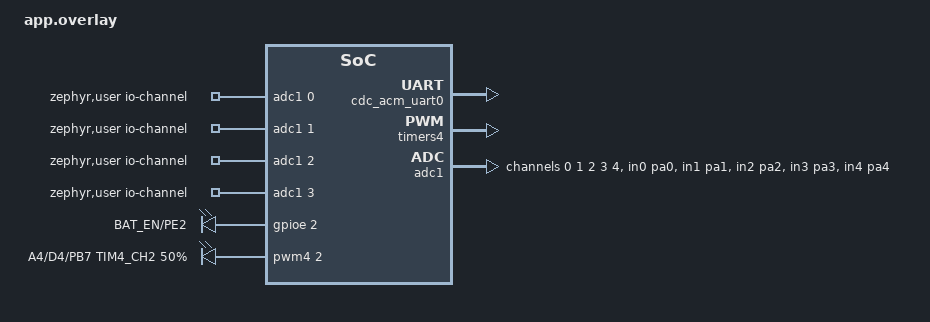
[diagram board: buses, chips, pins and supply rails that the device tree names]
#include <zephyr/dt-bindings/pwm/pwm.h>

/ {
	zephyr,user {
		io-channels = <&adc1 0>, <&adc1 1>, <&adc1 2>, <&adc1 3>;
	};

	battery_adc_ctrl {
		compatible = "gpio-leds";

		bat_en: bat_en {
			gpios = <&gpioe 2 GPIO_ACTIVE_HIGH>;
			label = "BAT_EN/PE2";
		};
	};

	pwm_outputs {
		compatible = "pwm-leds";

		pwm_a4: pwm_a4 {
			pwms = <&pwm4 2 PWM_MSEC(1) PWM_POLARITY_NORMAL>;
			label = "A4/D4/PB7 TIM4_CH2 50%";
		};
	};

	aliases {
		baten = &bat_en;
		pwm-a4 = &pwm_a4;
	};
};

&zephyr_udc0 {
	cdc_acm_uart0: cdc_acm_uart0 {
		compatible = "zephyr,cdc-acm-uart";
		label = "XIAO STM32C5 USB CDC ACM";
	};
};

/* D4/PB7 is the XIAO A4 header pin. Disable I2C1 so PB7 can be TIM4_CH2 PWM. */
&i2c1 {
	status = "disabled";
};

&timers4 {
	st,prescaler = <143>;
	status = "okay";

	pwm4: pwm {
		pinctrl-0 = <&tim4_ch2_pb7>;
		pinctrl-names = "default";
		status = "okay";
	};
};

&adc1 {
	pinctrl-0 = <&adc1_in0_pa0 &adc1_in1_pa1 &adc1_in2_pa2 &adc1_in3_pa3
		     &adc1_in4_pa4>;
	pinctrl-names = "default";
	vref-mv = <3300>;
	status = "okay";
	#address-cells = <1>;
	#size-cells = <0>;

	channel@0 {
		reg = <0>;
		zephyr,gain = "ADC_GAIN_1";
		zephyr,reference = "ADC_REF_INTERNAL";
		zephyr,acquisition-time = <ADC_ACQ_TIME(ADC_ACQ_TIME_TICKS, 289)>;
		zephyr,resolution = <12>;
	};

	channel@1 {
		reg = <1>;
		zephyr,gain = "ADC_GAIN_1";
		zephyr,reference = "ADC_REF_INTERNAL";
		zephyr,acquisition-time = <ADC_ACQ_TIME(ADC_ACQ_TIME_TICKS, 289)>;
		zephyr,resolution = <12>;
	};

	channel@2 {
		reg = <2>;
		zephyr,gain = "ADC_GAIN_1";
		zephyr,reference = "ADC_REF_INTERNAL";
		zephyr,acquisition-time = <ADC_ACQ_TIME(ADC_ACQ_TIME_TICKS, 289)>;
		zephyr,resolution = <12>;
	};

	channel@3 {
		reg = <3>;
		zephyr,gain = "ADC_GAIN_1";
		zephyr,reference = "ADC_REF_INTERNAL";
		zephyr,acquisition-time = <ADC_ACQ_TIME(ADC_ACQ_TIME_TICKS, 289)>;
		zephyr,resolution = <12>;
	};

	channel@4 {
		reg = <4>;
		zephyr,gain = "ADC_GAIN_1";
		zephyr,reference = "ADC_REF_INTERNAL";
		zephyr,acquisition-time = <ADC_ACQ_TIME(ADC_ACQ_TIME_TICKS, 289)>;
		zephyr,resolution = <12>;
	};
};
